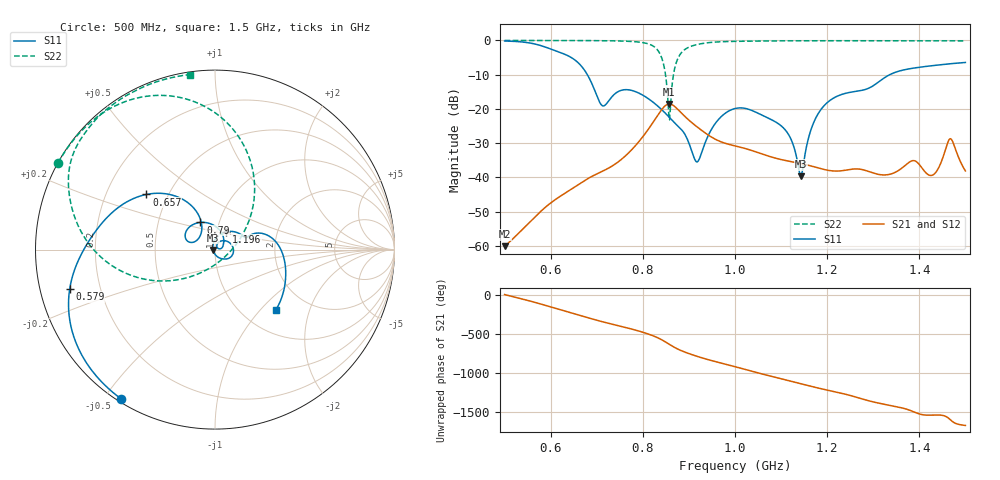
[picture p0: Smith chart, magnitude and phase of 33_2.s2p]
! TOUCHSTONE file generated by CST MICROWAVE STUDIO
! Date and time: Wed Oct 28 19:39:46 2020
! Project name: Scenario_1_Circular_Tissue_out_of_Line_v2.cst
! Parameters = {dy1=207.6; L_HA=400; MT=2.54; Rad_Dielectric=30; Rad_Lower=7.3; Rad_Upper=30; a_HA=580; a_WG=246; b_HA=500; b_WG=121; c_HA=0; c_WG=187; d_feed=85; dx1=346; h_feed=15; h_lower=18; h_upper=40}
! Header version: 2018
! Port assignment regex: !\s*Touchstone port\s*([0-9]+)\s*=\s*(CST MWS port|CST DS port)\s*([0-9]+|Zmin|Zmax)\s*\(\"(.*)\"\)(\s*mode\s*([0-9]+))?.*
! Touchstone port assignment:
! Touchstone port 1 = CST MWS port 1 ("")
! Touchstone port 2 = CST MWS port 2 ("")
# GHz S DB R 50
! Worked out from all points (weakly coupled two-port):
!   1003 points, 500 MHz to 1.5 GHz, reference 50 ohm
!   highest |S21| = -18.57 dB at 857 MHz (marker M1); lowest = -60.1 dB at 500 MHz (marker M2)
!   lowest |S11| = -39.7 dB at 1.143 GHz (marker M3), VSWR 1.02, Z = 49 - j0.184 ohm
!   |S11| at or under -10 dB: 679.5 MHz to 1.336 GHz (656.3 MHz wide, 65.1 % of centre)
!   |S22| runs from -23.2 to 0.0 dB; largest |S21 - S12| = 9.6e-05
!   S11 on the Smith chart (normalised r, x): 500 MHz: 0.01, -0.55; 579 MHz: 0.09, -0.13; 657 MHz: 0.38, +0.31; 790 MHz: 0.81, +0.25; 1.196 GHz: 1.11, +0.22; 1.5 GHz: 1.41, -1.22
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0.5  -0.16 -122.3  -60.10 9.7  -60.10 9.7  -0.01 151.1
0.579  -1.53 -164.8  -49.86 -112.8  -49.86 -112.8  -0.02 145.7
0.657  -6.19 141.2  -42.35 112.7  -42.35 112.7  -0.04 139.3
0.667  -7.56 131.9  -41.48 95.9  -41.48 95.9  -0.04 138.4
0.712  -19.06 139.6  -38.24 21.3  -38.24 21.3  -0.08 133.4
0.79  -15.30 118.2  -29.78 -96.2  -29.78 -96.2  -0.46 117.0
0.834  -19.36 73.8  -21.52 170.4  -21.52 170.4  -3.17 83.0
0.846  -20.87 61.3  -19.40 132.7  -19.40 132.7  -7.58 58.1
0.857  -22.39 50.3  -18.57 92.7  -18.57 92.7  -23.19 -32.0
0.877  -25.15 32.2  -20.29 26.9  -20.29 26.9  -4.99 -169.5
0.918  -35.48 39.7  -25.28 -63.6  -25.28 -63.6  -1.19 158.9
0.957  -24.29 52.9  -28.84 -129.6  -28.84 -129.6  -0.48 147.7
1  -19.89 5.8  -30.81 164.7  -30.81 164.7  -0.27 140.3
1.104  -25.40 -61.2  -34.91 3.7  -34.91 3.7  -0.12 129.4
1.143  -39.68 -169.6  -35.95 -54.5  -35.95 -54.5  -0.10 126.1
1.167  -25.26 90.6  -36.74 -90.5  -36.74 -90.5  -0.10 124.2
1.196  -18.69 58.3  -37.78 -130.9  -37.78 -130.9  -0.09 122.0
1.334  -10.13 13.9  -39.16 30.4  -39.16 30.4  -0.08 111.5
1.387  -8.10 -9.7  -35.10 -52.7  -35.11 -52.7  -0.09 107.4
1.43  -7.34 -24.1  -39.25 -95.9  -39.25 -95.9  -0.10 103.9
1.467  -6.82 -35.0  -28.71 -154.6  -28.73 -154.5  -0.12 100.8
1.5  -6.43 -44.5  -38.11 130.4  -38.11 130.4  -0.13 98.0
